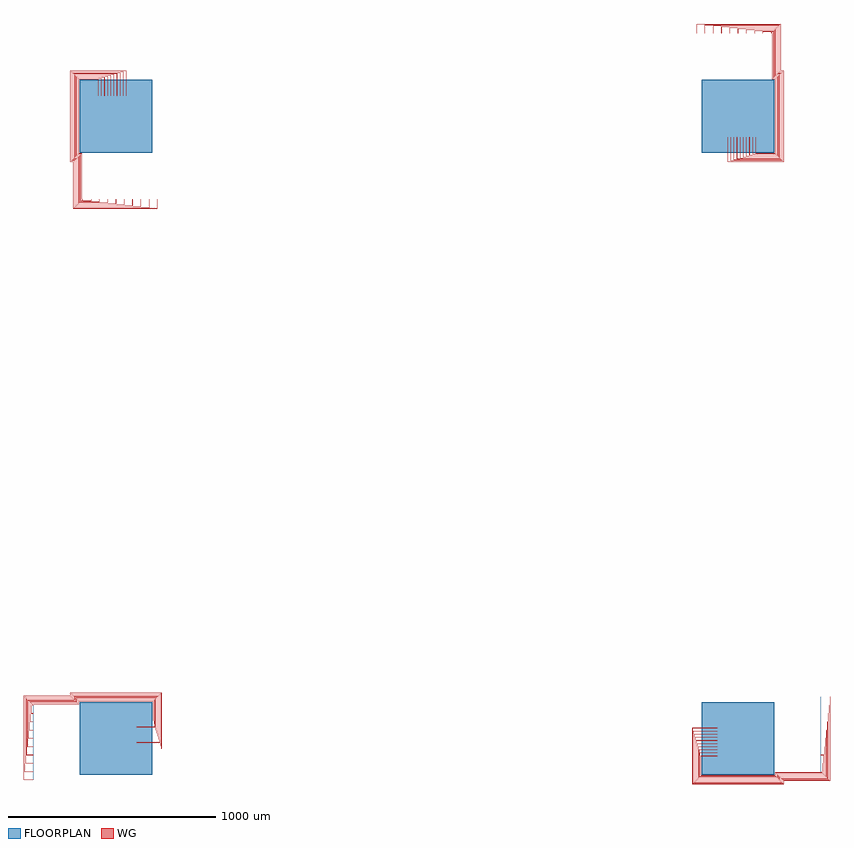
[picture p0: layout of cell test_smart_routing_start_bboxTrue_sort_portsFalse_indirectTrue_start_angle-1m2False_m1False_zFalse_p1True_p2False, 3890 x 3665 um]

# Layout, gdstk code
import gdstk
lib = gdstk.Library(unit=1e-6, precision=1e-09)
def R(c, l, rs):  # rectangles x0, y0, x1, y1
    for r in rs: c.add(gdstk.rectangle(r[:2], r[2:], *l))
def P(c, l, *ps):  # polygons
    for p in ps: c.add(gdstk.Polygon(p, *l))
WG = (1, 0)
FLOORPLAN = (10, 0)

test_smart_routing_start = lib.new_cell('test_smart_routing_start_bboxTrue_sort_portsFalse_indirectTrue_start_angle-1m2False_m1False_zFalse_p1True_p2False')
P(test_smart_routing_start, WG, [(-444.7,-199.95),(-444.7,204.95),(-219.7,204.95),(-219.7,219.7),(219.7,219.7),(219.7,-49.95),(100,-49.95),(100,-49.75),(219.5,-49.75),(219.5,219.5),(-219.5,219.5),(-219.5,204.75),(-444.5,204.75),(-444.5,-199.75),(-400,-199.75),(-400,-199.95)],
  [(-445,-200.25),(-445,205.25),(-220,205.25),(-220,220),(220,220),(220,-50.25),(100,-50.25),(100,-50.05),(219.8,-50.05),(219.8,219.8),(-219.8,219.8),(-219.8,205.05),(-444.8,205.05),(-444.8,-200.05),(-400,-200.05),(-400,-200.25)],
  [(-440.2,-159.95),(-440.2,200.45),(-215.2,200.45),(-215.2,215.2),(215.2,215.2),(215.2,-34.95),(100,-34.95),(100,-34.75),(215,-34.75),(215,215),(-215,215),(-215,200.25),(-440,200.25),(-440,-159.75),(-400,-159.75),(-400,-159.95)],
  [(-440.5,-160.25),(-440.5,200.75),(-215.5,200.75),(-215.5,215.5),(215.5,215.5),(215.5,-35.25),(100,-35.25),(100,-35.05),(215.3,-35.05),(215.3,215.3),(-215.3,215.3),(-215.3,200.55),(-440.3,200.55),(-440.3,-160.05),(-400,-160.05),(-400,-160.25)],
  [(-435.7,-119.95),(-435.7,195.95),(-210.7,195.95),(-210.7,210.7),(210.7,210.7),(210.7,-19.95),(100,-19.95),(100,-19.75),(210.5,-19.75),(210.5,210.5),(-210.5,210.5),(-210.5,195.75),(-435.5,195.75),(-435.5,-119.75),(-400,-119.75),(-400,-119.95)],
  [(-436,-120.25),(-436,196.25),(-211,196.25),(-211,211),(211,211),(211,-20.25),(100,-20.25),(100,-20.05),(210.8,-20.05),(210.8,210.8),(-210.8,210.8),(-210.8,196.05),(-435.8,196.05),(-435.8,-120.05),(-400,-120.05),(-400,-120.25)],
  [(-431.2,-79.95),(-431.2,191.45),(-206.2,191.45),(-206.2,206.2),(206.2,206.2),(206.2,-4.95),(100,-4.95),(100,-4.75),(206,-4.75),(206,206),(-206,206),(-206,191.25),(-431,191.25),(-431,-79.75),(-400,-79.75),(-400,-79.95)],
  [(-431.5,-80.25),(-431.5,191.75),(-206.5,191.75),(-206.5,206.5),(206.5,206.5),(206.5,-5.25),(100,-5.25),(100,-5.05),(206.3,-5.05),(206.3,206.3),(-206.3,206.3),(-206.3,191.55),(-431.3,191.55),(-431.3,-80.05),(-400,-80.05),(-400,-80.25)],
  [(-426.7,-39.95),(-426.7,186.95),(-201.7,186.95),(-201.7,201.7),(201.7,201.7),(201.7,10.05),(100,10.05),(100,10.25),(201.5,10.25),(201.5,201.5),(-201.5,201.5),(-201.5,186.75),(-426.5,186.75),(-426.5,-39.75),(-400,-39.75),(-400,-39.95)],
  [(-427,-40.25),(-427,187.25),(-202,187.25),(-202,202),(202,202),(202,9.75),(100,9.75),(100,9.95),(201.8,9.95),(201.8,201.8),(-201.8,201.8),(-201.8,187.05),(-426.8,187.05),(-426.8,-40.05),(-400,-40.05),(-400,-40.25)],
  [(-422.2,0.05),(-422.2,182.45),(-197.2,182.45),(-197.2,197.2),(197.2,197.2),(197.2,25.05),(100,25.05),(100,25.25),(197,25.25),(197,197),(-197,197),(-197,182.25),(-422,182.25),(-422,0.25),(-400,0.25),(-400,0.05)],
  [(-422.5,-0.25),(-422.5,182.75),(-197.5,182.75),(-197.5,197.5),(197.5,197.5),(197.5,24.75),(100,24.75),(100,24.95),(197.3,24.95),(197.3,197.3),(-197.3,197.3),(-197.3,182.55),(-422.3,182.55),(-422.3,-0.05),(-400,-0.05),(-400,-0.25)],
  [(-417.7,40.05),(-417.7,177.95),(-192.7,177.95),(-192.7,192.7),(192.7,192.7),(192.7,40.05),(100,40.05),(100,40.25),(192.5,40.25),(192.5,192.5),(-192.5,192.5),(-192.5,177.75),(-417.5,177.75),(-417.5,40.25),(-400,40.25),(-400,40.05)],
  [(-418,39.75),(-418,178.25),(-193,178.25),(-193,193),(193,193),(193,39.75),(100,39.75),(100,39.95),(192.8,39.95),(192.8,192.8),(-192.8,192.8),(-192.8,178.05),(-417.8,178.05),(-417.8,39.95),(-400,39.95),(-400,39.75)],
  [(100,55.05),(100,55.25),(188,55.25),(188,188),(-188,188),(-188,173.25),(-413,173.25),(-413,80.25),(-400,80.25),(-400,80.05),(-413.2,80.05),(-413.2,173.45),(-188.2,173.45),(-188.2,188.2),(188.2,188.2),(188.2,55.05)],
  [(100,54.75),(100,54.95),(188.3,54.95),(188.3,188.3),(-188.3,188.3),(-188.3,173.55),(-413.3,173.55),(-413.3,79.95),(-400,79.95),(-400,79.75),(-413.5,79.75),(-413.5,173.75),(-188.5,173.75),(-188.5,188.5),(188.5,188.5),(188.5,54.75)],
  [(100,70.05),(100,70.25),(183.5,70.25),(183.5,183.5),(-183.5,183.5),(-183.5,168.75),(-408.5,168.75),(-408.5,120.25),(-400,120.25),(-400,120.05),(-408.7,120.05),(-408.7,168.95),(-183.7,168.95),(-183.7,183.7),(183.7,183.7),(183.7,70.05)],
  [(100,69.75),(100,69.95),(183.8,69.95),(183.8,183.8),(-183.8,183.8),(-183.8,169.05),(-408.8,169.05),(-408.8,119.95),(-400,119.95),(-400,119.75),(-409,119.75),(-409,169.25),(-184,169.25),(-184,184),(184,184),(184,69.75)],
  [(100,85.05),(100,85.25),(179,85.25),(179,179),(-179,179),(-179,164.25),(-404,164.25),(-404,160.25),(-400,160.25),(-400,160.05),(-404.2,160.05),(-404.2,164.45),(-179.2,164.45),(-179.2,179.2),(179.2,179.2),(179.2,85.05)],
  [(100,84.75),(100,84.95),(179.3,84.95),(179.3,179.3),(-179.3,179.3),(-179.3,164.55),(-404.3,164.55),(-404.3,159.95),(-400,159.95),(-400,159.75),(-404.5,159.75),(-404.5,164.75),(-179.5,164.75),(-179.5,179.5),(179.5,179.5),(179.5,84.75)],
  [(-204.95,2555.3),(-204.95,2780.3),(-219.7,2780.3),(-219.7,3219.7),(49.95,3219.7),(49.95,3100),(49.75,3100),(49.75,3219.5),(-219.5,3219.5),(-219.5,2780.5),(-204.75,2780.5),(-204.75,2555.5),(199.75,2555.5),(199.75,2600),(199.95,2600),(199.95,2555.3)],
  [(-205.25,2555),(-205.25,2780),(-220,2780),(-220,3220),(50.25,3220),(50.25,3100),(50.05,3100),(50.05,3219.8),(-219.8,3219.8),(-219.8,2780.2),(-205.05,2780.2),(-205.05,2555.2),(200.05,2555.2),(200.05,2600),(200.25,2600),(200.25,2555)],
  [(-200.45,2559.8),(-200.45,2784.8),(-215.2,2784.8),(-215.2,3215.2),(34.95,3215.2),(34.95,3100),(34.75,3100),(34.75,3215),(-215,3215),(-215,2785),(-200.25,2785),(-200.25,2560),(159.75,2560),(159.75,2600),(159.95,2600),(159.95,2559.8)],
  [(-200.75,2559.5),(-200.75,2784.5),(-215.5,2784.5),(-215.5,3215.5),(35.25,3215.5),(35.25,3100),(35.05,3100),(35.05,3215.3),(-215.3,3215.3),(-215.3,2784.7),(-200.55,2784.7),(-200.55,2559.7),(160.05,2559.7),(160.05,2600),(160.25,2600),(160.25,2559.5)],
  [(-195.95,2564.3),(-195.95,2789.3),(-210.7,2789.3),(-210.7,3210.7),(19.95,3210.7),(19.95,3100),(19.75,3100),(19.75,3210.5),(-210.5,3210.5),(-210.5,2789.5),(-195.75,2789.5),(-195.75,2564.5),(119.75,2564.5),(119.75,2600),(119.95,2600),(119.95,2564.3)],
  [(-196.25,2564),(-196.25,2789),(-211,2789),(-211,3211),(20.25,3211),(20.25,3100),(20.05,3100),(20.05,3210.8),(-210.8,3210.8),(-210.8,2789.2),(-196.05,2789.2),(-196.05,2564.2),(120.05,2564.2),(120.05,2600),(120.25,2600),(120.25,2564)],
  [(-191.45,2568.8),(-191.45,2793.8),(-206.2,2793.8),(-206.2,3206.2),(4.95,3206.2),(4.95,3100),(4.75,3100),(4.75,3206),(-206,3206),(-206,2794),(-191.25,2794),(-191.25,2569),(79.75,2569),(79.75,2600),(79.95,2600),(79.95,2568.8)],
  [(-191.75,2568.5),(-191.75,2793.5),(-206.5,2793.5),(-206.5,3206.5),(5.25,3206.5),(5.25,3100),(5.05,3100),(5.05,3206.3),(-206.3,3206.3),(-206.3,2793.7),(-191.55,2793.7),(-191.55,2568.7),(80.05,2568.7),(80.05,2600),(80.25,2600),(80.25,2568.5)],
  [(-186.95,2573.3),(-186.95,2798.3),(-201.7,2798.3),(-201.7,3201.7),(-10.05,3201.7),(-10.05,3100),(-10.25,3100),(-10.25,3201.5),(-201.5,3201.5),(-201.5,2798.5),(-186.75,2798.5),(-186.75,2573.5),(39.75,2573.5),(39.75,2600),(39.95,2600),(39.95,2573.3)],
  [(-187.25,2573),(-187.25,2798),(-202,2798),(-202,3202),(-9.75,3202),(-9.75,3100),(-9.95,3100),(-9.95,3201.8),(-201.8,3201.8),(-201.8,2798.2),(-187.05,2798.2),(-187.05,2573.2),(40.05,2573.2),(40.05,2600),(40.25,2600),(40.25,2573)],
  [(-182.45,2577.8),(-182.45,2802.8),(-197.2,2802.8),(-197.2,3197.2),(-25.05,3197.2),(-25.05,3100),(-25.25,3100),(-25.25,3197),(-197,3197),(-197,2803),(-182.25,2803),(-182.25,2578),(-0.25,2578),(-0.25,2600),(-0.05,2600),(-0.05,2577.8)],
  [(-182.75,2577.5),(-182.75,2802.5),(-197.5,2802.5),(-197.5,3197.5),(-24.75,3197.5),(-24.75,3100),(-24.95,3100),(-24.95,3197.3),(-197.3,3197.3),(-197.3,2802.7),(-182.55,2802.7),(-182.55,2577.7),(0.05,2577.7),(0.05,2600),(0.25,2600),(0.25,2577.5)],
  [(-177.95,2582.3),(-177.95,2807.3),(-192.7,2807.3),(-192.7,3192.7),(-40.05,3192.7),(-40.05,3100),(-40.25,3100),(-40.25,3192.5),(-192.5,3192.5),(-192.5,2807.5),(-177.75,2807.5),(-177.75,2582.5),(-40.25,2582.5),(-40.25,2600),(-40.05,2600),(-40.05,2582.3)],
  [(-178.25,2582),(-178.25,2807),(-193,2807),(-193,3193),(-39.75,3193),(-39.75,3100),(-39.95,3100),(-39.95,3192.8),(-192.8,3192.8),(-192.8,2807.2),(-178.05,2807.2),(-178.05,2582.2),(-39.95,2582.2),(-39.95,2600),(-39.75,2600),(-39.75,2582)],
  [(-173.45,2586.8),(-173.45,2811.8),(-188.2,2811.8),(-188.2,3188.2),(-55.05,3188.2),(-55.05,3100),(-55.25,3100),(-55.25,3188),(-188,3188),(-188,2812),(-173.25,2812),(-173.25,2587),(-80.25,2587),(-80.25,2600),(-80.05,2600),(-80.05,2586.8)],
  [(-173.75,2586.5),(-173.75,2811.5),(-188.5,2811.5),(-188.5,3188.5),(-54.75,3188.5),(-54.75,3100),(-54.95,3100),(-54.95,3188.3),(-188.3,3188.3),(-188.3,2811.7),(-173.55,2811.7),(-173.55,2586.7),(-79.95,2586.7),(-79.95,2600),(-79.75,2600),(-79.75,2586.5)],
  [(-168.95,2591.3),(-168.95,2816.3),(-183.7,2816.3),(-183.7,3183.7),(-70.05,3183.7),(-70.05,3100),(-70.25,3100),(-70.25,3183.5),(-183.5,3183.5),(-183.5,2816.5),(-168.75,2816.5),(-168.75,2591.5),(-120.25,2591.5),(-120.25,2600),(-120.05,2600),(-120.05,2591.3)],
  [(-169.25,2591),(-169.25,2816),(-184,2816),(-184,3184),(-69.75,3184),(-69.75,3100),(-69.95,3100),(-69.95,3183.8),(-183.8,3183.8),(-183.8,2816.2),(-169.05,2816.2),(-169.05,2591.2),(-119.95,2591.2),(-119.95,2600),(-119.75,2600),(-119.75,2591)],
  [(-164.45,2595.8),(-164.45,2820.8),(-179.2,2820.8),(-179.2,3179.2),(-85.05,3179.2),(-85.05,3100),(-85.25,3100),(-85.25,3179),(-179,3179),(-179,2821),(-164.25,2821),(-164.25,2596),(-160.25,2596),(-160.25,2600),(-160.05,2600),(-160.05,2595.8)],
  [(-164.75,2595.5),(-164.75,2820.5),(-179.5,2820.5),(-179.5,3179.5),(-84.75,3179.5),(-84.75,3100),(-84.95,3100),(-84.95,3179.3),(-179.3,3179.3),(-179.3,2820.7),(-164.55,2820.7),(-164.55,2595.7),(-159.95,2595.7),(-159.95,2600),(-159.75,2600),(-159.75,2595.5)],
  [(2780.3,-219.7),(2780.3,49.95),(2900,49.95),(2900,49.75),(2780.5,49.75),(2780.5,-219.5),(3219.5,-219.5),(3219.5,-204.75),(3444.5,-204.75),(3444.5,199.75),(3400,199.75),(3400,199.95),(3444.7,199.95),(3444.7,-204.95),(3219.7,-204.95),(3219.7,-219.7)],
  [(2780,-220),(2780,50.25),(2900,50.25),(2900,50.05),(2780.2,50.05),(2780.2,-219.8),(3219.8,-219.8),(3219.8,-205.05),(3444.8,-205.05),(3444.8,200.05),(3400,200.05),(3400,200.25),(3445,200.25),(3445,-205.25),(3220,-205.25),(3220,-220)],
  [(2784.8,-215.2),(2784.8,34.95),(2900,34.95),(2900,34.75),(2785,34.75),(2785,-215),(3215,-215),(3215,-200.25),(3440,-200.25),(3440,159.75),(3400,159.75),(3400,159.95),(3440.2,159.95),(3440.2,-200.45),(3215.2,-200.45),(3215.2,-215.2)],
  [(2784.5,-215.5),(2784.5,35.25),(2900,35.25),(2900,35.05),(2784.7,35.05),(2784.7,-215.3),(3215.3,-215.3),(3215.3,-200.55),(3440.3,-200.55),(3440.3,160.05),(3400,160.05),(3400,160.25),(3440.5,160.25),(3440.5,-200.75),(3215.5,-200.75),(3215.5,-215.5)],
  [(2789.3,-210.7),(2789.3,19.95),(2900,19.95),(2900,19.75),(2789.5,19.75),(2789.5,-210.5),(3210.5,-210.5),(3210.5,-195.75),(3435.5,-195.75),(3435.5,119.75),(3400,119.75),(3400,119.95),(3435.7,119.95),(3435.7,-195.95),(3210.7,-195.95),(3210.7,-210.7)],
  [(2789,-211),(2789,20.25),(2900,20.25),(2900,20.05),(2789.2,20.05),(2789.2,-210.8),(3210.8,-210.8),(3210.8,-196.05),(3435.8,-196.05),(3435.8,120.05),(3400,120.05),(3400,120.25),(3436,120.25),(3436,-196.25),(3211,-196.25),(3211,-211)],
  [(2793.8,-206.2),(2793.8,4.95),(2900,4.95),(2900,4.75),(2794,4.75),(2794,-206),(3206,-206),(3206,-191.25),(3431,-191.25),(3431,79.75),(3400,79.75),(3400,79.95),(3431.2,79.95),(3431.2,-191.45),(3206.2,-191.45),(3206.2,-206.2)],
  [(2793.5,-206.5),(2793.5,5.25),(2900,5.25),(2900,5.05),(2793.7,5.05),(2793.7,-206.3),(3206.3,-206.3),(3206.3,-191.55),(3431.3,-191.55),(3431.3,80.05),(3400,80.05),(3400,80.25),(3431.5,80.25),(3431.5,-191.75),(3206.5,-191.75),(3206.5,-206.5)],
  [(2798.3,-201.7),(2798.3,-10.05),(2900,-10.05),(2900,-10.25),(2798.5,-10.25),(2798.5,-201.5),(3201.5,-201.5),(3201.5,-186.75),(3426.5,-186.75),(3426.5,39.75),(3400,39.75),(3400,39.95),(3426.7,39.95),(3426.7,-186.95),(3201.7,-186.95),(3201.7,-201.7)],
  [(2798,-202),(2798,-9.75),(2900,-9.75),(2900,-9.95),(2798.2,-9.95),(2798.2,-201.8),(3201.8,-201.8),(3201.8,-187.05),(3426.8,-187.05),(3426.8,40.05),(3400,40.05),(3400,40.25),(3427,40.25),(3427,-187.25),(3202,-187.25),(3202,-202)],
  [(2802.8,-197.2),(2802.8,-25.05),(2900,-25.05),(2900,-25.25),(2803,-25.25),(2803,-197),(3197,-197),(3197,-182.25),(3422,-182.25),(3422,-0.25),(3400,-0.25),(3400,-0.05),(3422.2,-0.05),(3422.2,-182.45),(3197.2,-182.45),(3197.2,-197.2)],
  [(2802.5,-197.5),(2802.5,-24.75),(2900,-24.75),(2900,-24.95),(2802.7,-24.95),(2802.7,-197.3),(3197.3,-197.3),(3197.3,-182.55),(3422.3,-182.55),(3422.3,0.05),(3400,0.05),(3400,0.25),(3422.5,0.25),(3422.5,-182.75),(3197.5,-182.75),(3197.5,-197.5)],
  [(2807.3,-192.7),(2807.3,-40.05),(2900,-40.05),(2900,-40.25),(2807.5,-40.25),(2807.5,-192.5),(3192.5,-192.5),(3192.5,-177.75),(3417.5,-177.75),(3417.5,-40.25),(3400,-40.25),(3400,-40.05),(3417.7,-40.05),(3417.7,-177.95),(3192.7,-177.95),(3192.7,-192.7)],
  [(2807,-193),(2807,-39.75),(2900,-39.75),(2900,-39.95),(2807.2,-39.95),(2807.2,-192.8),(3192.8,-192.8),(3192.8,-178.05),(3417.8,-178.05),(3417.8,-39.95),(3400,-39.95),(3400,-39.75),(3418,-39.75),(3418,-178.25),(3193,-178.25),(3193,-193)],
  [(2811.8,-188.2),(2811.8,-55.05),(2900,-55.05),(2900,-55.25),(2812,-55.25),(2812,-188),(3188,-188),(3188,-173.25),(3413,-173.25),(3413,-80.25),(3400,-80.25),(3400,-80.05),(3413.2,-80.05),(3413.2,-173.45),(3188.2,-173.45),(3188.2,-188.2)],
  [(2811.5,-188.5),(2811.5,-54.75),(2900,-54.75),(2900,-54.95),(2811.7,-54.95),(2811.7,-188.3),(3188.3,-188.3),(3188.3,-173.55),(3413.3,-173.55),(3413.3,-79.95),(3400,-79.95),(3400,-79.75),(3413.5,-79.75),(3413.5,-173.75),(3188.5,-173.75),(3188.5,-188.5)],
  [(2816.3,-183.7),(2816.3,-70.05),(2900,-70.05),(2900,-70.25),(2816.5,-70.25),(2816.5,-183.5),(3183.5,-183.5),(3183.5,-168.75),(3408.5,-168.75),(3408.5,-120.25),(3400,-120.25),(3400,-120.05),(3408.7,-120.05),(3408.7,-168.95),(3183.7,-168.95),(3183.7,-183.7)],
  [(2816,-184),(2816,-69.75),(2900,-69.75),(2900,-69.95),(2816.2,-69.95),(2816.2,-183.8),(3183.8,-183.8),(3183.8,-169.05),(3408.8,-169.05),(3408.8,-119.95),(3400,-119.95),(3400,-119.75),(3409,-119.75),(3409,-169.25),(3184,-169.25),(3184,-184)],
  [(2820.8,-179.2),(2820.8,-85.05),(2900,-85.05),(2900,-85.25),(2821,-85.25),(2821,-179),(3179,-179),(3179,-164.25),(3404,-164.25),(3404,-160.25),(3400,-160.25),(3400,-160.05),(3404.2,-160.05),(3404.2,-164.45),(3179.2,-164.45),(3179.2,-179.2)],
  [(2820.5,-179.5),(2820.5,-84.75),(2900,-84.75),(2900,-84.95),(2820.7,-84.95),(2820.7,-179.3),(3179.3,-179.3),(3179.3,-164.55),(3404.3,-164.55),(3404.3,-159.95),(3400,-159.95),(3400,-159.75),(3404.5,-159.75),(3404.5,-164.75),(3179.5,-164.75),(3179.5,-179.5)],
  [(2950.05,2780.3),(2950.05,2900),(2950.25,2900),(2950.25,2780.5),(3219.5,2780.5),(3219.5,3219.5),(3204.75,3219.5),(3204.75,3444.5),(2800.25,3444.5),(2800.25,3400),(2800.05,3400),(2800.05,3444.7),(3204.95,3444.7),(3204.95,3219.7),(3219.7,3219.7),(3219.7,2780.3)],
  [(2949.75,2780),(2949.75,2900),(2949.95,2900),(2949.95,2780.2),(3219.8,2780.2),(3219.8,3219.8),(3205.05,3219.8),(3205.05,3444.8),(2799.95,3444.8),(2799.95,3400),(2799.75,3400),(2799.75,3445),(3205.25,3445),(3205.25,3220),(3220,3220),(3220,2780)],
  [(2965.05,2784.8),(2965.05,2900),(2965.25,2900),(2965.25,2785),(3215,2785),(3215,3215),(3200.25,3215),(3200.25,3440),(2840.25,3440),(2840.25,3400),(2840.05,3400),(2840.05,3440.2),(3200.45,3440.2),(3200.45,3215.2),(3215.2,3215.2),(3215.2,2784.8)],
  [(2964.75,2784.5),(2964.75,2900),(2964.95,2900),(2964.95,2784.7),(3215.3,2784.7),(3215.3,3215.3),(3200.55,3215.3),(3200.55,3440.3),(2839.95,3440.3),(2839.95,3400),(2839.75,3400),(2839.75,3440.5),(3200.75,3440.5),(3200.75,3215.5),(3215.5,3215.5),(3215.5,2784.5)],
  [(2980.05,2789.3),(2980.05,2900),(2980.25,2900),(2980.25,2789.5),(3210.5,2789.5),(3210.5,3210.5),(3195.75,3210.5),(3195.75,3435.5),(2880.25,3435.5),(2880.25,3400),(2880.05,3400),(2880.05,3435.7),(3195.95,3435.7),(3195.95,3210.7),(3210.7,3210.7),(3210.7,2789.3)],
  [(2979.75,2789),(2979.75,2900),(2979.95,2900),(2979.95,2789.2),(3210.8,2789.2),(3210.8,3210.8),(3196.05,3210.8),(3196.05,3435.8),(2879.95,3435.8),(2879.95,3400),(2879.75,3400),(2879.75,3436),(3196.25,3436),(3196.25,3211),(3211,3211),(3211,2789)],
  [(2995.05,2793.8),(2995.05,2900),(2995.25,2900),(2995.25,2794),(3206,2794),(3206,3206),(3191.25,3206),(3191.25,3431),(2920.25,3431),(2920.25,3400),(2920.05,3400),(2920.05,3431.2),(3191.45,3431.2),(3191.45,3206.2),(3206.2,3206.2),(3206.2,2793.8)],
  [(2994.75,2793.5),(2994.75,2900),(2994.95,2900),(2994.95,2793.7),(3206.3,2793.7),(3206.3,3206.3),(3191.55,3206.3),(3191.55,3431.3),(2919.95,3431.3),(2919.95,3400),(2919.75,3400),(2919.75,3431.5),(3191.75,3431.5),(3191.75,3206.5),(3206.5,3206.5),(3206.5,2793.5)],
  [(3010.05,2798.3),(3010.05,2900),(3010.25,2900),(3010.25,2798.5),(3201.5,2798.5),(3201.5,3201.5),(3186.75,3201.5),(3186.75,3426.5),(2960.25,3426.5),(2960.25,3400),(2960.05,3400),(2960.05,3426.7),(3186.95,3426.7),(3186.95,3201.7),(3201.7,3201.7),(3201.7,2798.3)],
  [(3009.75,2798),(3009.75,2900),(3009.95,2900),(3009.95,2798.2),(3201.8,2798.2),(3201.8,3201.8),(3187.05,3201.8),(3187.05,3426.8),(2959.95,3426.8),(2959.95,3400),(2959.75,3400),(2959.75,3427),(3187.25,3427),(3187.25,3202),(3202,3202),(3202,2798)],
  [(3025.05,2802.8),(3025.05,2900),(3025.25,2900),(3025.25,2803),(3197,2803),(3197,3197),(3182.25,3197),(3182.25,3422),(3000.25,3422),(3000.25,3400),(3000.05,3400),(3000.05,3422.2),(3182.45,3422.2),(3182.45,3197.2),(3197.2,3197.2),(3197.2,2802.8)],
  [(3024.75,2802.5),(3024.75,2900),(3024.95,2900),(3024.95,2802.7),(3197.3,2802.7),(3197.3,3197.3),(3182.55,3197.3),(3182.55,3422.3),(2999.95,3422.3),(2999.95,3400),(2999.75,3400),(2999.75,3422.5),(3182.75,3422.5),(3182.75,3197.5),(3197.5,3197.5),(3197.5,2802.5)],
  [(3040.05,2807.3),(3040.05,2900),(3040.25,2900),(3040.25,2807.5),(3192.5,2807.5),(3192.5,3192.5),(3177.75,3192.5),(3177.75,3417.5),(3040.25,3417.5),(3040.25,3400),(3040.05,3400),(3040.05,3417.7),(3177.95,3417.7),(3177.95,3192.7),(3192.7,3192.7),(3192.7,2807.3)],
  [(3039.75,2807),(3039.75,2900),(3039.95,2900),(3039.95,2807.2),(3192.8,2807.2),(3192.8,3192.8),(3178.05,3192.8),(3178.05,3417.8),(3039.95,3417.8),(3039.95,3400),(3039.75,3400),(3039.75,3418),(3178.25,3418),(3178.25,3193),(3193,3193),(3193,2807)],
  [(3055.05,2811.8),(3055.05,2900),(3055.25,2900),(3055.25,2812),(3188,2812),(3188,3188),(3173.25,3188),(3173.25,3413),(3080.25,3413),(3080.25,3400),(3080.05,3400),(3080.05,3413.2),(3173.45,3413.2),(3173.45,3188.2),(3188.2,3188.2),(3188.2,2811.8)],
  [(3054.75,2811.5),(3054.75,2900),(3054.95,2900),(3054.95,2811.7),(3188.3,2811.7),(3188.3,3188.3),(3173.55,3188.3),(3173.55,3413.3),(3079.95,3413.3),(3079.95,3400),(3079.75,3400),(3079.75,3413.5),(3173.75,3413.5),(3173.75,3188.5),(3188.5,3188.5),(3188.5,2811.5)],
  [(3070.05,2816.3),(3070.05,2900),(3070.25,2900),(3070.25,2816.5),(3183.5,2816.5),(3183.5,3183.5),(3168.75,3183.5),(3168.75,3408.5),(3120.25,3408.5),(3120.25,3400),(3120.05,3400),(3120.05,3408.7),(3168.95,3408.7),(3168.95,3183.7),(3183.7,3183.7),(3183.7,2816.3)],
  [(3069.75,2816),(3069.75,2900),(3069.95,2900),(3069.95,2816.2),(3183.8,2816.2),(3183.8,3183.8),(3169.05,3183.8),(3169.05,3408.8),(3119.95,3408.8),(3119.95,3400),(3119.75,3400),(3119.75,3409),(3169.25,3409),(3169.25,3184),(3184,3184),(3184,2816)],
  [(3085.05,2820.8),(3085.05,2900),(3085.25,2900),(3085.25,2821),(3179,2821),(3179,3179),(3164.25,3179),(3164.25,3404),(3160.25,3404),(3160.25,3400),(3160.05,3400),(3160.05,3404.2),(3164.45,3404.2),(3164.45,3179.2),(3179.2,3179.2),(3179.2,2820.8)],
  [(3084.75,2820.5),(3084.75,2900),(3084.95,2900),(3084.95,2820.7),(3179.3,2820.7),(3179.3,3179.3),(3164.55,3179.3),(3164.55,3404.3),(3159.95,3404.3),(3159.95,3400),(3159.75,3400),(3159.75,3404.5),(3164.75,3404.5),(3164.75,3179.5),(3179.5,3179.5),(3179.5,2820.5)])
R(test_smart_routing_start, FLOORPLAN, [(-175,-175,175,175), (2825,-175,3175,175), (-175,2825,175,3175), (2825,2825,3175,3175)])
P(test_smart_routing_start, FLOORPLAN, [(-400,-200),(-400,160),(-400,160),(-400,-200)],
  [(-160,2600),(-160,2600),(200,2600),(200,2600)],
  [(3400,-160),(3400,200),(3400,200),(3400,-160)],
  [(2800,3400),(2800,3400),(3160,3400),(3160,3400)])

lib.write_gds('test_smart_routing_start_bboxTrue_sort_portsFalse_indirectTrue_start_angle-1m2False_m1False_zFalse_p1True_p2False.gds')
